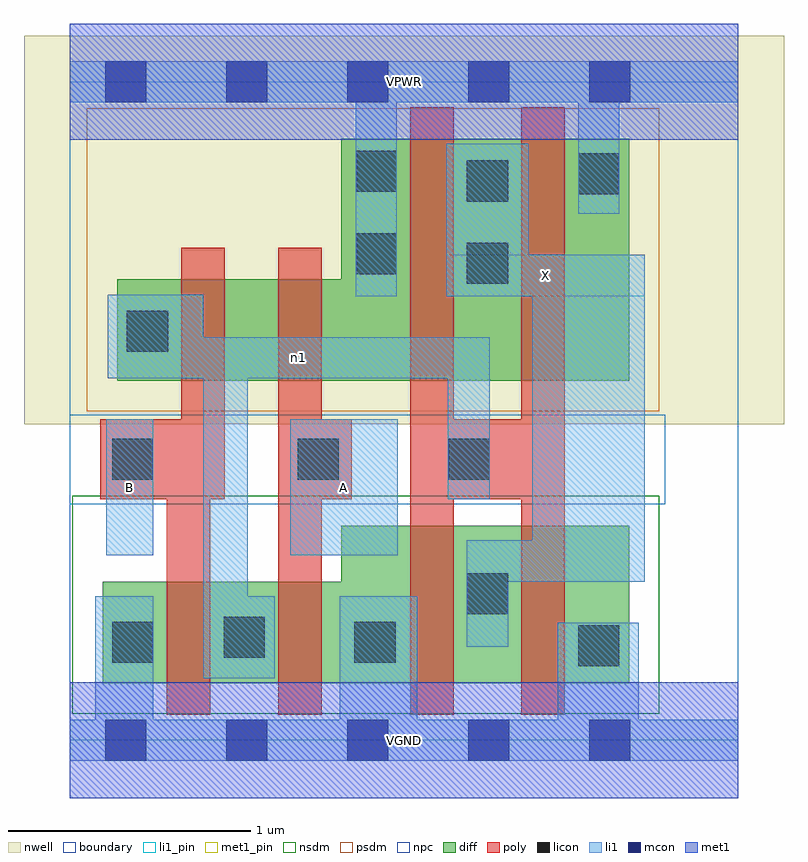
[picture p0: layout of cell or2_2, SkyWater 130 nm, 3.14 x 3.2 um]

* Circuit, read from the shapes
.subckt or2_2 A B VGND VPWR X n1
XM1 n1 B VGND VSUBS sky130_fd_pr__nfet_01v8 w=0.42 l=0.18
XM2 VGND A n1 VSUBS sky130_fd_pr__nfet_01v8 w=0.42 l=0.18
XM3 X n1 VGND VSUBS sky130_fd_pr__nfet_01v8 w=0.65 l=0.18 m=2
XM4 n2 B n1 n3 sky130_fd_pr__pfet_01v8 w=0.42 l=0.18
XM5 VPWR A n2 n3 sky130_fd_pr__pfet_01v8 w=0.42 l=0.18
XM6 X n1 VPWR n3 sky130_fd_pr__pfet_01v8 w=1 l=0.18 m=2
.ends

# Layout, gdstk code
import gdstk
lib = gdstk.Library(unit=1e-6, precision=1e-09)
def R(c, l, rs):  # rectangles x0, y0, x1, y1
    for r in rs: c.add(gdstk.rectangle(r[:2], r[2:], *l))
def A(c, l, x, y, w, h, nx, ny, dx, dy):  # array of equal rectangles
    R(c, l, [(x+i*dx, y+j*dy, x+i*dx+w, y+j*dy+h) for i in range(nx) for j in range(ny)])
nwell = (64, 20)
diff = (65, 20)
poly = (66, 20)
licon = (66, 44)
li1_pin = (67, 16)
li1 = (67, 20)
mcon = (67, 44)
met1_pin = (68, 16)
met1 = (68, 20)
nsdm = (93, 44)
psdm = (94, 20)
npc = (95, 20)
boundary = (235, 4)

or2_2 = lib.new_cell('or2_2')
R(or2_2, nwell, [(-0.19,1.305,2.95,2.91), (0,1.305,2.76,2.91)])
R(or2_2, diff, [(0.135,0.235,2.31,0.655), (1.12,0.235,2.31,0.885), (0.195,1.485,2.31,1.905), (1.12,1.485,2.31,2.485)])
R(or2_2, poly, [(0.4,0.105,0.58,1.325), (0.86,0.105,1.04,2.035), (1.405,0.105,1.585,2.615), (1.865,0.105,2.045,2.615), (0.125,0.995,0.64,1.325), (0.46,0.995,0.64,2.035), (0.86,0.995,1.165,1.325), (1.405,0.995,2.045,1.325)])
R(or2_2, licon, [(2.1,0.305,2.27,0.475), (0.175,0.32,0.345,0.49), (1.175,0.32,1.345,0.49), (0.635,0.34,0.805,0.51), (1.64,0.52,1.81,0.69), (0.175,1.075,0.345,1.245), (0.94,1.075,1.11,1.245), (1.565,1.075,1.735,1.245), (0.235,1.605,0.405,1.775), (1.64,1.885,1.81,2.055), (1.18,1.925,1.35,2.095), (1.64,2.225,1.81,2.395), (2.1,2.255,2.27,2.425), (1.18,2.265,1.35,2.435)])
R(or2_2, li1_pin, [(0.15,0.765,0.345,1.325), (0.91,0.765,1.355,1.325), (1.555,1.835,2.375,2.005)])
R(or2_2, li1, [(0,-0.085,2.76,0.085), (0.105,-0.085,0.345,0.595), (1.115,-0.085,1.435,0.595), (2.015,-0.085,2.35,0.485), (0.55,0.255,0.735,1.665), (0.55,0.255,0.845,0.595), (1.64,0.385,1.81,0.825), (1.64,0.655,2.375,0.825), (1.91,0.655,2.375,2.005), (0.15,0.765,0.345,1.325), (0.91,0.765,1.355,1.325), (1.56,0.995,1.735,1.665), (0.155,1.495,1.735,1.665), (0.155,1.495,0.55,1.84), (1.18,1.835,1.35,2.805), (1.555,1.835,1.895,2.465), (1.555,1.835,2.375,2.005), (2.1,2.175,2.27,2.805), (0,2.635,2.76,2.805)])
A(or2_2, mcon, 0.145, -0.085, 0.17, 0.17, 5, 2, 0.5, 2.72)
R(or2_2, met1_pin, [(0,-0.24,2.76,0.24), (0,2.48,2.76,2.96)])
R(or2_2, met1, [(0,-0.24,2.76,0.24), (0,2.48,2.76,2.96)])
R(or2_2, nsdm, [(0.01,0.11,2.435,1.01)])
R(or2_2, psdm, [(0.07,1.36,2.435,2.61)])
R(or2_2, npc, [(0,0.975,2.46,1.345)])
R(or2_2, boundary, [(0,0,2.76,2.72)])
or2_2.add(gdstk.Label('A', (1.132,1.045), layer=67, texttype=5))
or2_2.add(gdstk.Label('B', (0.247,1.045), layer=67, texttype=5))
or2_2.add(gdstk.Label('X', (1.965,1.92), layer=67, texttype=5))
or2_2.add(gdstk.Label('n1', (0.945,1.58), layer=67, texttype=5))
or2_2.add(gdstk.Label('VPWR', (1.38,2.72), layer=68, texttype=5))
or2_2.add(gdstk.Label('VGND', (1.38,0), layer=68, texttype=5))
or2_2.add(gdstk.Label('A', (1.132,1.045), layer=67, texttype=16))
or2_2.add(gdstk.Label('B', (0.247,1.045), layer=67, texttype=16))
or2_2.add(gdstk.Label('X', (1.965,1.92), layer=67, texttype=16))
or2_2.add(gdstk.Label('VPWR', (1.38,2.72), layer=68, texttype=16))
or2_2.add(gdstk.Label('VGND', (1.38,0), layer=68, texttype=16))

lib.write_gds('or2_2.gds')
